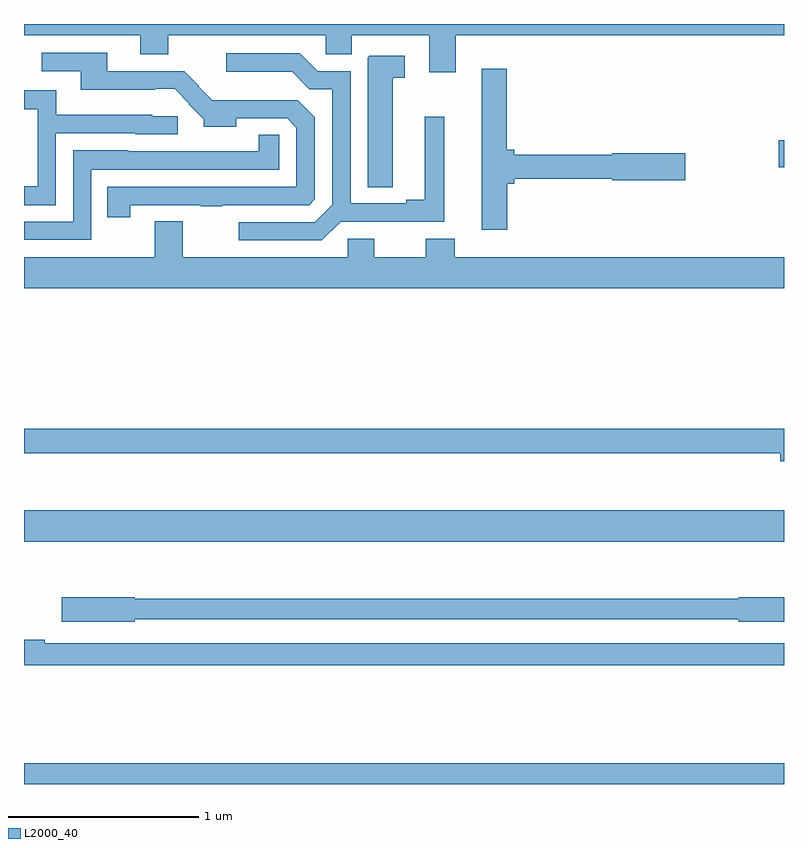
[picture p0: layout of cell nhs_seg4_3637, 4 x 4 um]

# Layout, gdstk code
import gdstk
lib = gdstk.Library(unit=1e-6, precision=1e-09)
def R(c, l, rs):  # rectangles x0, y0, x1, y1
    for r in rs: c.add(gdstk.rectangle(r[:2], r[2:], *l))
def P(c, l, *ps):  # polygons
    for p in ps: c.add(gdstk.Polygon(p, *l))
L2000_40 = (2000, 40)

nhs_seg4_3637 = lib.new_cell('nhs_seg4_3637')
R(nhs_seg4_3637, L2000_40, [(303,772.9,307,773.008), (303,774.176,307,774.34), (306.972,776.146,307,776.288)])
P(nhs_seg4_3637, L2000_40, [(305.272,776.84),(307,776.84),(307,776.9),(303,776.9),(303,776.84),(303.611,776.84),(303.611,776.741),(303.759,776.741),(303.759,776.84),(304.587,776.84),(304.587,776.742),(304.726,776.742),(304.726,776.84),(305.132,776.84),(305.132,776.646),(305.272,776.646)],
  [(303.558,775.947),(303.931,775.947),(303.931,775.942),(304.043,775.942),(304.043,775.947),(304.5,775.947),(304.53,775.977),(304.53,776.409),(304.441,776.498),(304.325,776.498),(304.325,776.5),(303.991,776.5),(303.917,776.573),(303.919,776.575),(303.843,776.652),(303.439,776.652),(303.439,776.748),(303.093,776.748),(303.093,776.652),(303.299,776.652),(303.299,776.555),(303.692,776.555),(303.692,776.558),(303.794,776.558),(303.87,776.481),(303.867,776.478),(303.946,776.4),(303.946,776.36),(304.117,776.36),(304.117,776.403),(304.386,776.403),(304.434,776.355),(304.434,776.043),(303.439,776.043),(303.439,775.884),(303.558,775.884)],
  [(304.666,775.86),(305.212,775.86),(305.212,776.413),(305.108,776.413),(305.108,775.976),(305.012,775.976),(305.012,775.956),(304.719,775.956),(304.719,776.652),(304.545,776.652),(304.452,776.745),(304.065,776.745),(304.065,776.648),(304.411,776.648),(304.502,776.557),(304.623,776.557),(304.623,775.95),(304.53,775.857),(304.131,775.857),(304.131,775.761),(304.567,775.761)],
  [(304.942,776.617),(305.005,776.617),(305.005,776.733),(304.818,776.733),(304.808,776.723),(304.808,776.041),(304.942,776.041)],
  [(305.543,776.059),(305.579,776.059),(305.579,776.085),(306.096,776.085),(306.096,776.077),(306.481,776.077),(306.481,776.219),(306.096,776.219),(306.096,776.213),(305.579,776.213),(305.579,776.237),(305.54,776.237),(305.54,776.665),(305.408,776.665),(305.408,775.818),(305.543,775.818)],
  [(303.168,776.325),(303.585,776.325),(303.585,776.319),(303.81,776.319),(303.81,776.415),(303.675,776.415),(303.675,776.422),(303.169,776.422),(303.169,776.551),(303,776.551),(303,776.451),(303.072,776.451),(303.072,776.046),(303,776.046),(303,775.945),(303.168,775.945)],
  [(303.354,776.133),(304.344,776.133),(304.344,776.318),(304.236,776.318),(304.236,776.23),(303.981,776.23),(303.981,776.229),(303.549,776.229),(303.549,776.236),(303.258,776.236),(303.258,775.86),(303,775.86),(303,775.764),(303.354,775.764)],
  [(307,775.672),(305.267,775.672),(305.267,775.771),(305.114,775.771),(305.114,775.672),(304.843,775.672),(304.843,775.77),(304.704,775.77),(304.704,775.672),(303.835,775.672),(303.835,775.862),(303.688,775.862),(303.688,775.672),(303,775.672),(303,775.508),(307,775.508)],
  [(307,774.77),(303,774.77),(303,774.642),(306.98,774.642),(306.98,774.599),(307,774.599)],
  [(303.582,773.766),(306.762,773.766),(306.762,773.753),(307,773.753),(307,773.883),(306.762,773.883),(306.762,773.875),(303.582,773.875),(303.582,773.883),(303.198,773.883),(303.198,773.753),(303.582,773.753)],
  [(307,773.64),(303.11,773.64),(303.11,773.66),(303,773.66),(303,773.524),(307,773.524)])

lib.write_gds('nhs_seg4_3637.gds')
